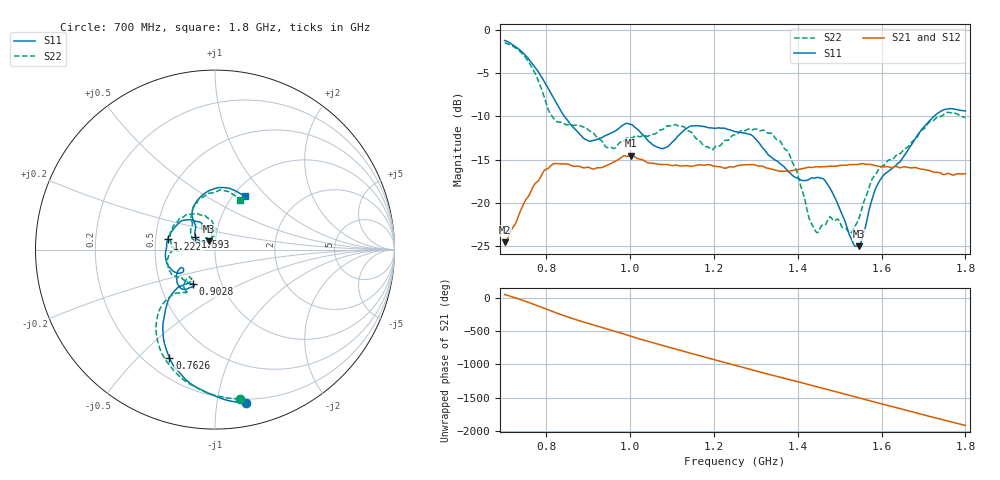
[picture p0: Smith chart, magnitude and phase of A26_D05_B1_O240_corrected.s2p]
! Created with skrf 1.9.0 (http://scikit-rf.org).
# Hz S RI R 50.0
!freq ReS11 ImS11 ReS21 ImS21 ReS12 ImS12 ReS22 ImS22
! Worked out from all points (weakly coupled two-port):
!   1601 points, 700 MHz to 1.8 GHz, reference 50 ohm
!   highest |S21| = -14.54 dB at 1.002 GHz (marker M1); lowest = -24.6 dB at 700.7 MHz (marker M2)
!   lowest |S11| = -25.0 dB at 1.545 GHz (marker M3), VSWR 1.12, Z = 46.7 + j4.33 ohm
!   |S11| at or under -10 dB: 842.7 MHz to 1.725 GHz (882.4 MHz wide, 68.7 % of centre)
!   |S22| runs from -23.6 to -1.5 dB; largest |S21 - S12| = 0.0035
!   S11 on the Smith chart (normalised r, x): 700 MHz: 0.17, -1.21; 762.6 MHz: 0.30, -0.62; 902.8 MHz: 0.73, -0.30; 1.222 GHz: 0.58, +0.07; 1.593 GHz: 0.80, +0.12; 1.8 GHz: 1.13, +0.76
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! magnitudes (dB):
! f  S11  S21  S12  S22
! 700 MHz  -1.2  -24.6  -24.4  -1.5
! 700.7 MHz  -1.2  -24.6  -24.3  -1.5
! 762.6 MHz  -3.7  -18.7  -18.7  -4.1
! 817.6 MHz  -7.9  -15.5  -15.6  -10.3
! 883.6 MHz  -12.3  -15.9  -15.8  -11.2
! 902.8 MHz  -12.9  -15.9  -15.9  -11.7
! 946.1 MHz  -12.1  -15.6  -15.7  -13.6
! 1.002 GHz  -10.9  -14.5  -14.6  -12.5
! 1.067 GHz  -13.6  -15.6  -15.5  -11.7
! 1.145 GHz  -11.1  -15.8  -15.8  -11.8
! 1.222 GHz  -11.4  -16.0  -16.0  -12.9
! 1.25 GHz  -11.8  -15.8  -15.8  -12.2
! 1.358 GHz  -15.5  -16.4  -16.3  -12.9
! 1.396 GHz  -17.1  -16.2  -16.2  -16.1
! 1.434 GHz  -17.1  -15.9  -15.9  -22.5
! 1.468 GHz  -17.7  -15.8  -15.8  -22.4
! 1.525 GHz  -23.9  -15.6  -15.6  -23.6
! 1.545 GHz  -25.0  -15.6  -15.5  -21.9
! 1.593 GHz  -17.7  -15.8  -15.8  -16.1
! 1.617 GHz  -16.3  -15.9  -15.8  -15.1
! 1.732 GHz  -9.7  -16.5  -16.5  -10.1
! 1.8 GHz  -9.4  -16.6  -16.6  -10.1
